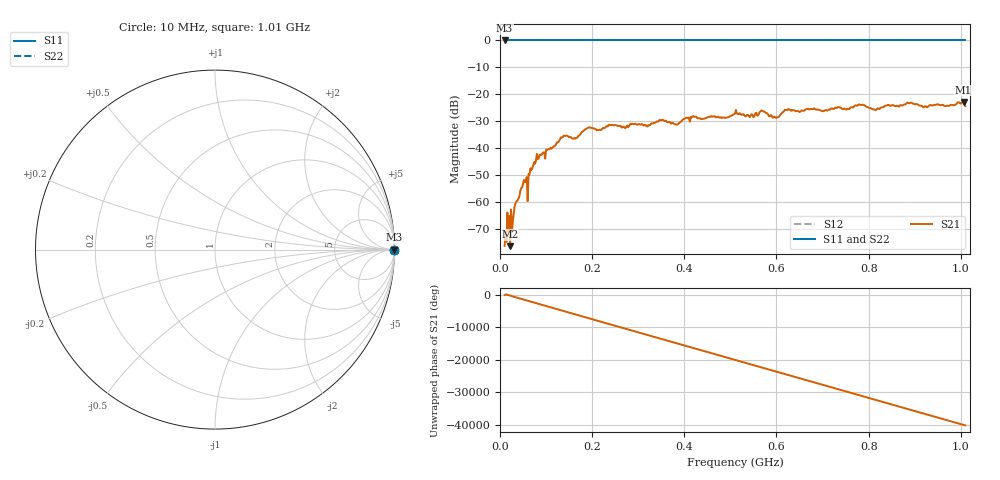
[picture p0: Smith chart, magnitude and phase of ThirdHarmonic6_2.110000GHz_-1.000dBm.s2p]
! 8/17/2025 1:14:16 AM
! C:\ANRITSUVNA\TEMP\TEMP.S2P
! CHANNEL.1
! TR.MEASUREMENT
! RAW.DATA
! RF.CORRECTION.OFF
! AVERAGING.OFF
! IF.BANDWIDTH: 5KHZ
! SWEEPTYPE:  FREQ.SWEEP(Linear)
! Reference Plane Port Info
! PORT:  PORT1  PORT2
! DISTANCE:  0  m  0  m
! TIME:  0  s  0  s
! PHASE.OFFSET:  0  deg.  0  deg.
! LOSS:  0  dB  0  dB
! REF.LOSS:  0  dB  0  dB
! REF.FREQ:  0  Hz  0  Hz
! Power Info
! POWER:  -20  dBm  -20  dBm
! EFF.POWER:  -20  dBm  -20  dBm
! SOURCE.ATTEN:  0  dB  0  dB
! TEST.ATTEN:  0  dB  0  dB
# GHZ S RI R 50.0
! FREQ.GHZ  S11RE  S11IM  S21RE  S21IM  S12RE  S12IM  S22RE  S22IM
!; PortSelection: Port_12
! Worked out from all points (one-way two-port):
!   501 points, 10 MHz to 1.01 GHz, reference 50 ohm
!   highest |S21| = -22.77 dB at 1.006 GHz (marker M1); lowest = -76.2 dB at 22 MHz (marker M2)
!   lowest |S11| = 0.0 dB at 10 MHz (marker M3)
!   |S11| at or under -10 dB: nowhere
!   |S22| runs from 0.0 to 0.0 dB; largest |S21 - S12| = 1.1
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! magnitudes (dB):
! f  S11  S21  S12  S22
! 10 MHz  0.0  -76.1  0.0  0.0
! 16 MHz  0.0  -63.7  0.0  0.0
! 22 MHz  0.0  -76.2  0.0  0.0
! 48 MHz  0.0  -54.4  0.0  0.0
! 60 MHz  0.0  -59.5  0.0  0.0
! 70 MHz  0.0  -47.5  0.0  0.0
! 84 MHz  0.0  -43.7  0.0  0.0
! 136 MHz  0.0  -35.9  0.0  0.0
! 162 MHz  0.0  -36.2  0.0  0.0
! 178 MHz  0.0  -33.8  0.0  0.0
! 344 MHz  0.0  -29.9  0.0  0.0
! 382 MHz  0.0  -31.0  0.0  0.0
! 418 MHz  0.0  -28.2  0.0  0.0
! 510 MHz  0.0  -27.1  0.0  0.0
! 546 MHz  0.0  -27.3  0.0  0.0
! 570 MHz  0.0  -26.1  0.0  0.0
! 600 MHz  0.0  -28.7  0.0  0.0
! 622 MHz  0.0  -25.8  0.0  0.0
! 678 MHz  0.0  -25.4  0.0  0.0
! 844 MHz  0.0  -23.9  0.0  0.0
! 1.006 GHz  0.0  -22.8  0.0  0.0
! 1.01 GHz  0.0  -24.3  0.0  0.0
